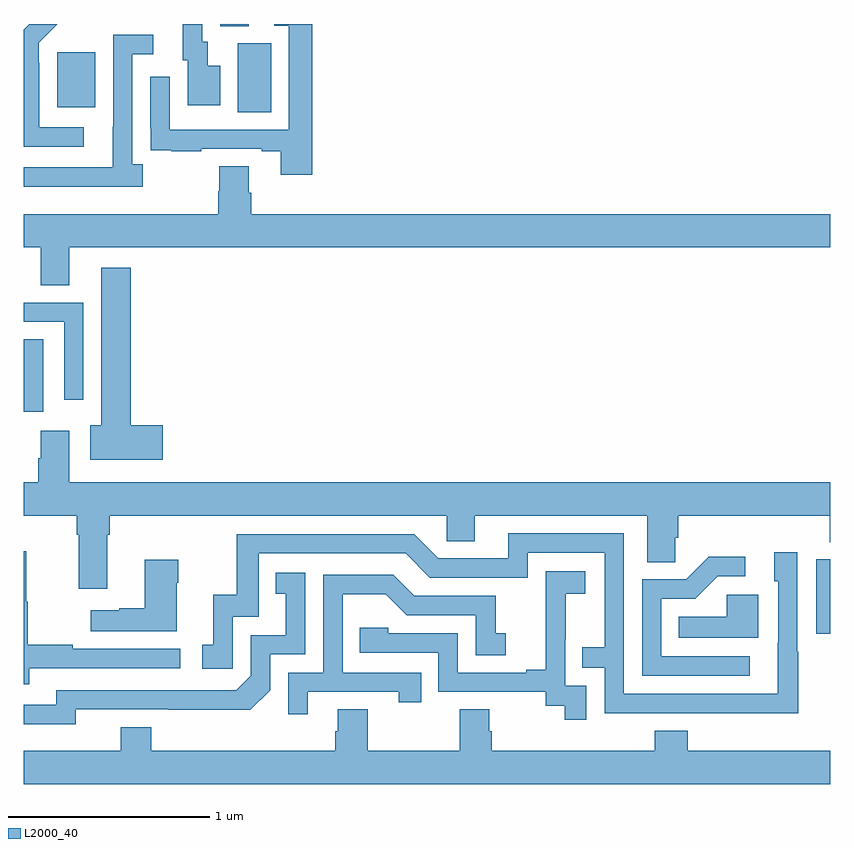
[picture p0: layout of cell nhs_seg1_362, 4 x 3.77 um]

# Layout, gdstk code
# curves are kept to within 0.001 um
import gdstk
lib = gdstk.Library(unit=1e-6, precision=1e-09)
def R(c, l, rs):  # rectangles x0, y0, x1, y1
    for r in rs: c.add(gdstk.rectangle(r[:2], r[2:], *l))
def P(c, l, *ps):  # polygons
    for p in ps: c.add(gdstk.Polygon(p, *l))
L2000_40 = (2000, 40)

nhs_seg1_362 = lib.new_cell('nhs_seg1_362')
R(nhs_seg1_362, L2000_40, [(134.931,523.173,135,523.542), (131,524.274,131.095,524.636), (132.062,525.76,132.226,526.104), (131.165,525.785,131.353,526.06), (131.975,526.189,132.115,526.199)])
P(nhs_seg1_362, L2000_40, [(131.296,525.687),(131.076,525.687),(131.076,526.007),(131.073,526.007),(131.073,526.107),(131.165,526.199),(131.027,526.199),(131,526.171),(131,525.591),(131.296,525.591)],
  [(131.974,525.991),(131.911,525.991),(131.911,526.11),(131.886,526.11),(131.886,526.199),(131.789,526.199),(131.789,526.02),(131.813,526.02),(131.813,525.795),(131.974,525.795)],
  [(132.431,526.199),(132.243,526.199),(132.243,526.191),(132.315,526.191),(132.315,525.675),(131.724,525.675),(131.724,525.937),(131.628,525.937),(131.628,525.682),(131.629,525.682),(131.629,525.573),(131.731,525.573),(131.731,525.567),(131.879,525.567),(131.879,525.579),(132.179,525.579),(132.179,525.567),(132.275,525.567),(132.275,525.45),(132.431,525.45)],
  [(131.59,525.502),(131.538,525.502),(131.538,526.05),(131.641,526.05),(131.641,526.146),(131.442,526.146),(131.442,525.689),(131.441,525.689),(131.441,525.489),(131,525.489),(131,525.392),(131.59,525.392)],
  [(131.224,525.092),(135,525.092),(135,525.256),(132.128,525.256),(132.128,525.362),(132.115,525.362),(132.115,525.494),(131.968,525.494),(131.968,525.369),(131.963,525.369),(131.963,525.256),(131,525.256),(131,525.092),(131.084,525.092),(131.084,524.902),(131.224,524.902)],
  [(131.689,524.207),(131.531,524.207),(131.531,524.989),(131.384,524.989),(131.384,524.207),(131.328,524.207),(131.328,524.036),(131.689,524.036)],
  [(131.295,524.817),(131,524.817),(131,524.721),(131.199,524.721),(131.199,524.334),(131.295,524.334)],
  [(131.413,523.664),(131.426,523.664),(131.426,523.76),(133.098,523.76),(133.098,523.633),(133.237,523.633),(133.237,523.76),(134.093,523.76),(134.093,523.528),(134.232,523.528),(134.232,523.651),(134.246,523.651),(134.246,523.76),(134.999,523.76),(134.999,523.627),(135,523.627),(135,523.924),(131.224,523.924),(131.224,524.182),(131.084,524.182),(131.084,524.045),(131.072,524.045),(131.072,523.924),(131,523.924),(131,523.76),(131.261,523.76),(131.261,523.664),(131.273,523.664),(131.273,523.398),(131.413,523.398)],
  [(134.841,523.085),(134.838,523.085),(134.838,523.579),(134.723,523.579),(134.723,523.434),(134.742,523.434),(134.741,522.876),(133.977,522.876),(133.977,523.671),(133.403,523.671),(133.403,523.548),(133.056,523.548),(132.936,523.668),(132.057,523.668),(132.057,523.366),(131.939,523.366),(131.939,523.119),(131.886,523.119),(131.886,522.999),(132.036,522.999),(132.036,523.257),(132.165,523.257),(132.165,523.572),(132.894,523.572),(133.014,523.452),(133.5,523.452),(133.5,523.575),(133.881,523.575),(133.881,523.106),(133.771,523.106),(133.771,523.005),(133.881,523.005),(133.881,522.78),(134.841,522.779)],
  [(131.027,523.002),(131.776,523.002),(131.776,523.098),(131.243,523.098),(131.243,523.118),(131.02,523.118),(131.02,523.332),(131.012,523.332),(131.012,523.582),(131,523.582),(131,522.924),(131.027,522.924)],
  [(134.602,523.062),(134.163,523.062),(134.163,523.347),(134.332,523.347),(134.443,523.458),(134.578,523.458),(134.578,523.556),(134.399,523.556),(134.286,523.443),(134.067,523.443),(134.067,522.966),(134.602,522.966)],
  [(131.758,523.427),(131.766,523.427),(131.766,523.54),(131.6,523.54),(131.6,523.301),(131.474,523.301),(131.474,523.291),(131.331,523.291),(131.331,523.187),(131.758,523.187)],
  [(133.791,522.915),(133.686,522.915),(133.686,523.145),(133.688,523.145),(133.688,523.373),(133.786,523.373),(133.786,523.483),(133.588,523.483),(133.588,523.277),(133.589,523.277),(133.589,522.994),(133.493,522.994),(133.493,522.981),(133.152,522.981),(133.152,523.176),(132.807,523.176),(132.807,523.203),(132.667,523.203),(132.667,523.08),(133.056,523.08),(133.056,522.885),(133.59,522.885),(133.59,522.817),(133.683,522.817),(133.683,522.746),(133.791,522.746)],
  [(131.256,522.798),(132.124,522.797),(132.222,522.894),(132.222,523.071),(132.396,523.071),(132.396,523.477),(132.25,523.477),(132.25,523.371),(132.299,523.371),(132.299,523.167),(132.126,523.167),(132.126,522.966),(132.054,522.894),(131.16,522.894),(131.16,522.822),(131,522.822),(131,522.725),(131.256,522.725)],
  [(132.409,522.885),(132.86,522.885),(132.86,522.834),(132.971,522.834),(132.971,522.981),(132.582,522.981),(132.582,523.37),(132.796,523.37),(132.9,523.266),(133.242,523.266),(133.242,523.068),(133.39,523.068),(133.39,523.177),(133.341,523.177),(133.341,523.362),(132.937,523.362),(132.832,523.467),(132.486,523.467),(132.486,522.981),(132.312,522.981),(132.312,522.774),(132.409,522.774)],
  [(134.644,523.366),(134.487,523.366),(134.487,523.258),(134.248,523.258),(134.248,523.154),(134.644,523.154)],
  [(135,522.592),(134.294,522.592),(134.294,522.691),(134.129,522.691),(134.129,522.592),(133.322,522.592),(133.322,522.69),(133.309,522.69),(133.309,522.8),(133.162,522.8),(133.162,522.592),(132.705,522.592),(132.705,522.8),(132.557,522.8),(132.557,522.69),(132.545,522.69),(132.545,522.592),(131.633,522.592),(131.633,522.709),(131.48,522.709),(131.48,522.592),(131,522.592),(131,522.428),(135,522.428)])

lib.write_gds('nhs_seg1_362.gds')
